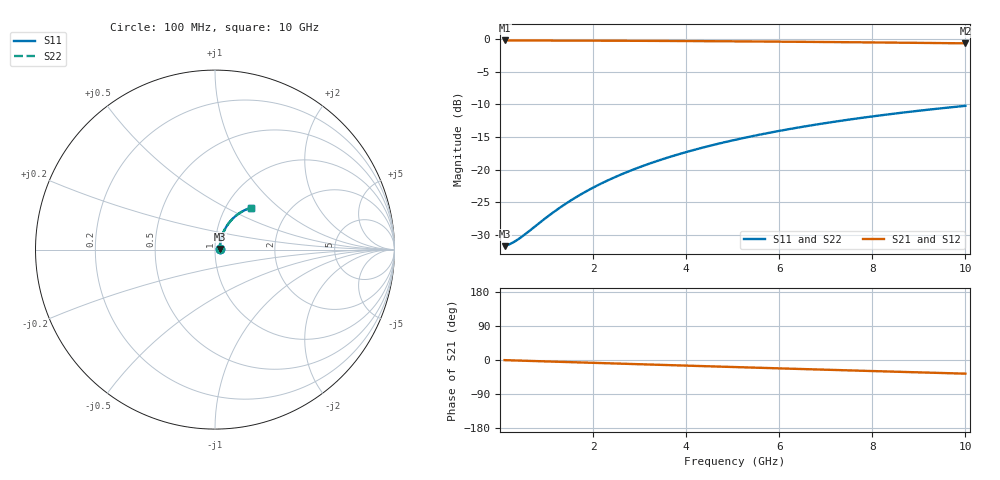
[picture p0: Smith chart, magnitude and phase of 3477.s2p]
# Hz S RI R 50.00
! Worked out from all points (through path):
!   100 points, 100 MHz to 10 GHz, reference 50 ohm
!   highest |S21| = -0.23 dB at 100 MHz (marker M1); lowest = -0.7 dB at 10 GHz (marker M2)
!   group delay of S21, straight-line fit = 10 ps
!   lowest |S11| = -31.7 dB at 100 MHz (marker M3), VSWR 1.05, Z = 52.6 + j0.34 ohm
!   |S11| at or under -10 dB: start of sweep to end of sweep
!   |S22| runs from -31.7 to -10.2 dB; largest |S21 - S12| = 0
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1e8  0.0257 0.00323  0.9743 -0.00634  0.9743 -0.00634  0.0257 0.00323
2e8  0.0259 0.00646  0.9741 -0.0127  0.9741 -0.0127  0.0259 0.00646
3e8  0.0261 0.00968  0.9738 -0.019  0.9738 -0.019  0.0261 0.00968
4e8  0.0264 0.0129  0.9735 -0.0253  0.9735 -0.0253  0.0264 0.0129
1e9  0.0285 0.0321  0.9709 -0.0632  0.9709 -0.0632  0.0285 0.0321
1.2e9  0.0296 0.0385  0.9697 -0.0758  0.9697 -0.0758  0.0296 0.0385
1.5e9  0.0314 0.048  0.9675 -0.0946  0.9675 -0.0946  0.0314 0.048
1.8e9  0.0335 0.0573  0.9648 -0.1134  0.9648 -0.1134  0.0335 0.0573
2.1e9  0.0361 0.0666  0.9617 -0.132  0.9617 -0.132  0.0361 0.0666
2.5e9  0.04 0.0788  0.9569 -0.1566  0.9569 -0.1566  0.04 0.0788
2.9e9  0.0445 0.0908  0.9513 -0.181  0.9513 -0.181  0.0445 0.0908
3.4e9  0.051 0.1053  0.9433 -0.2111  0.9433 -0.2111  0.051 0.1053
3.8e9  0.0568 0.1166  0.936 -0.2349  0.936 -0.2349  0.0568 0.1166
4.2e9  0.0632 0.1275  0.928 -0.2583  0.928 -0.2583  0.0632 0.1275
4.6e9  0.0701 0.1381  0.9194 -0.2813  0.9194 -0.2813  0.0701 0.1381
5.1e9  0.0794 0.1507  0.9076 -0.3095  0.9076 -0.3095  0.0794 0.1507
5.9e9  0.0959 0.1694  0.8868 -0.3532  0.8868 -0.3532  0.0959 0.1694
6.7e9  0.1139 0.1862  0.8636 -0.3949  0.8636 -0.3949  0.1139 0.1862
7.5e9  0.1334 0.201  0.8384 -0.4347  0.8384 -0.4347  0.1334 0.201
8.4e9  0.1566 0.2151  0.8079 -0.4769  0.8079 -0.4769  0.1566 0.2151
9.2e9  0.1782 0.2253  0.7791 -0.5121  0.7791 -0.5121  0.1782 0.2253
1e10  0.2004 0.2332  0.7489 -0.545  0.7489 -0.545  0.2004 0.2332
